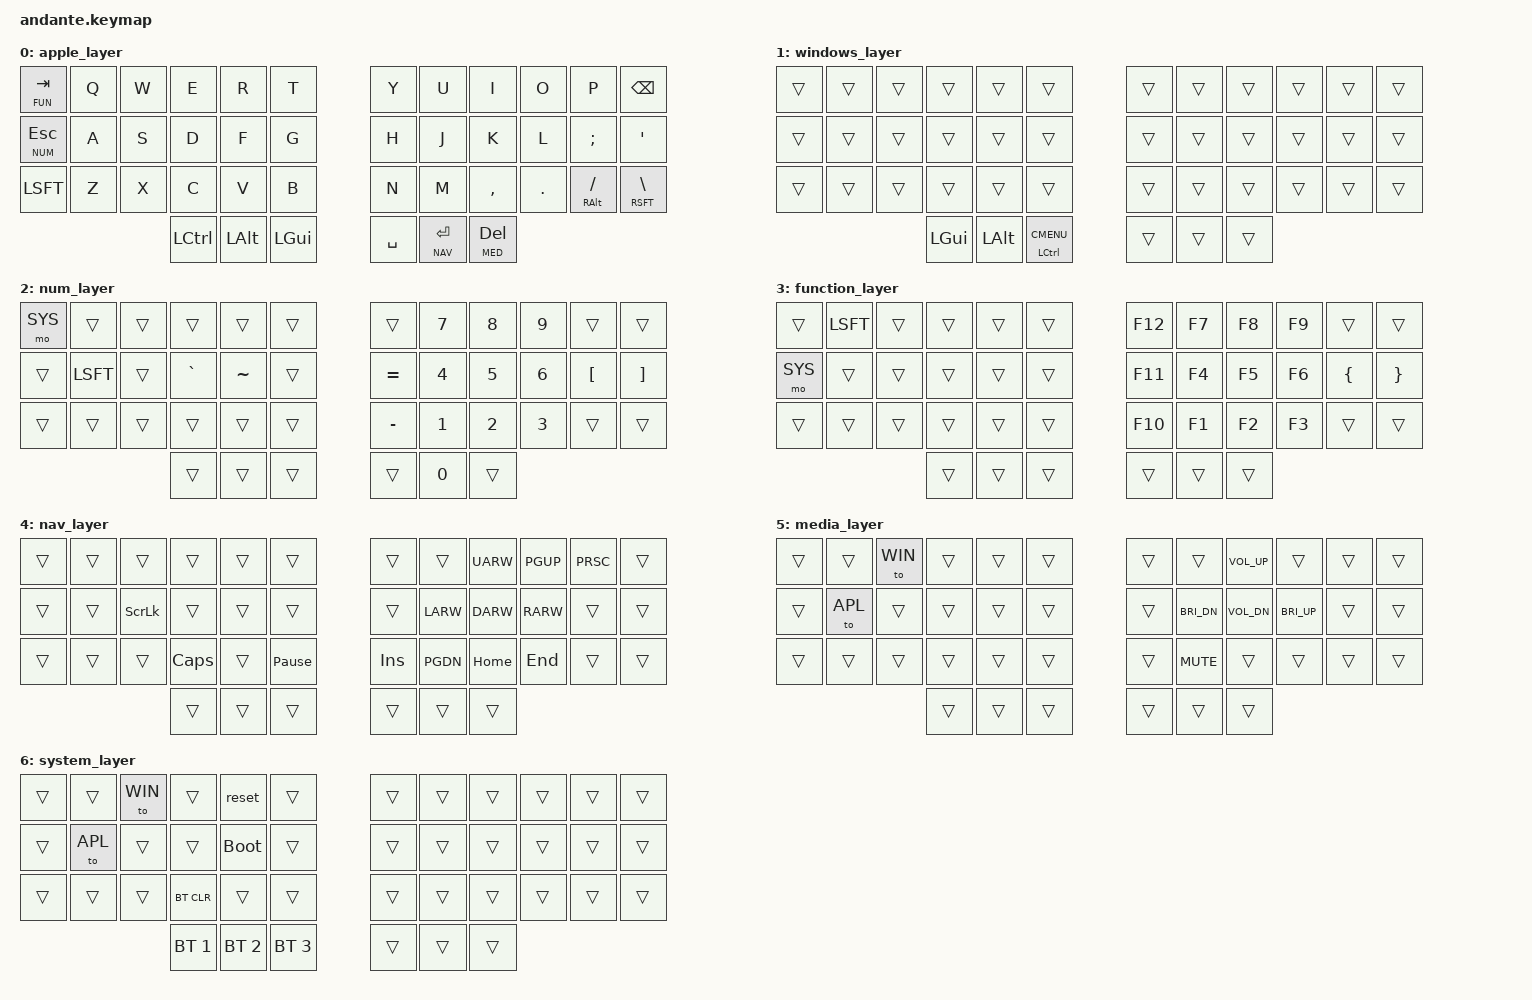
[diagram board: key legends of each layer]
/*
 * Copyright (c) 2021 The ZMK Contributors
 *
 * SPDX-License-Identifier: MIT
 */

#include <behaviors.dtsi>
#include <dt-bindings/zmk/bt.h>
#include <dt-bindings/zmk/keys.h>

#define APL 0
#define WIN 1
#define NUM 2
#define FUN 3
#define NAV 4
#define MED 5
#define SYS 6

/ {
    behaviors {
        hlt: hold_preferred_layer_tap {
			compatible = "zmk,behavior-hold-tap";
			label = "HOLD_PREFERRED_LAYER_TAP";
			#binding-cells = <2>;
			flavor = "hold-preferred";
			tapping_term_ms = <200>;
			bindings = <&mo>, <&kp>;
		};

        tmt: tap_preferred_mod_tap {
			compatible = "zmk,behavior-hold-tap";
			label = "TAP_PREFERRED_MOD_TAP";
			#binding-cells = <2>;
			flavor = "tap-preferred";
			tapping_term_ms = <200>;
			bindings = <&kp>, <&kp>;
		};
    };


    keymap {
        compatible = "zmk,keymap";

        apple_layer {
            bindings = <
    &hlt FUN TAB  &kp Q  &kp W  &kp E     &kp R     &kp T     /**/  &kp Y    &kp U         &kp I         &kp O    &kp P           &kp BKSP
    &hlt NUM ESC  &kp A  &kp S  &kp D     &kp F     &kp G     /**/  &kp H    &kp J         &kp K         &kp L    &kp SCLN        &kp QUOT
    &kp LSFT      &kp Z  &kp X  &kp C     &kp V     &kp B     /**/  &kp N    &kp M         &kp CMMA      &kp DOT  &tmt RALT FSLH  &mt RSFT BSLH
                                &kp LCTL  &kp LALT  &kp LGUI  /**/  &kp SPC  &hlt NAV RET  &hlt MED DEL
            >;
        };

        windows_layer {
            bindings = <
    &trans  &trans  &trans  &trans    &trans    &trans            /**/  &trans  &trans  &trans  &trans  &trans  &trans
    &trans  &trans  &trans  &trans    &trans    &trans            /**/  &trans  &trans  &trans  &trans  &trans  &trans
    &trans  &trans  &trans  &trans    &trans    &trans            /**/  &trans  &trans  &trans  &trans  &trans  &trans
                            &kp LGUI  &kp LALT  &mt LCTL K_CMENU  /**/  &trans  &trans  &trans
            >;
        };

        num_layer {
            bindings = <
    &mo SYS &trans    &trans    &trans     &trans    &trans  /**/  &trans     &kp NUM_7  &kp NUM_8  &kp NUM_9  &trans    &trans
    &trans  &kp LSFT  &trans    &kp GRAV   &kp TILDE &trans  /**/  &kp EQL    &kp NUM_4  &kp NUM_5  &kp NUM_6  &kp LBKT  &kp RBKT
    &trans  &trans    &trans    &trans     &trans    &trans  /**/  &kp MINUS  &kp NUM_1  &kp NUM_2  &kp NUM_3  &trans    &trans
                                &trans     &trans    &trans  /**/  &trans     &kp NUM_0  &trans
            >;
        };

        function_layer {
            bindings = <
    &trans  &kp LSFT  &trans  &trans  &trans  &trans  /**/  &kp F12  &kp F7  &kp F8  &kp F9  &trans    &trans
    &mo SYS &trans    &trans  &trans  &trans  &trans  /**/  &kp F11  &kp F4  &kp F5  &kp F6  &kp LBRC  &kp RBRC
    &trans  &trans    &trans  &trans  &trans  &trans  /**/  &kp F10  &kp F1  &kp F2  &kp F3  &trans    &trans
                              &trans  &trans  &trans  /**/  &trans   &trans  &trans
            >;
        };

        nav_layer {
            bindings = <
    &trans  &trans  &trans    &trans    &trans  &trans           /**/  &trans   &trans    &kp UARW  &kp PGUP  &kp PRSC  &trans
    &trans  &trans  &kp SLCK  &trans    &trans  &trans           /**/  &trans   &kp LARW  &kp DARW  &kp RARW  &trans    &trans
    &trans  &trans  &trans    &kp CLCK  &trans  &kp PAUSE_BREAK  /**/  &kp INS  &kp PGDN  &kp HOME  &kp END   &trans    &trans
                              &trans    &trans  &trans           /**/  &trans   &trans    &trans
            >;
        };

        media_layer {
            bindings = <
    &trans  &trans   &to WIN  &trans  &trans  &trans  /**/  &trans  &trans        &kp C_VOL_UP  &trans        &trans  &trans
    &trans  &to APL  &trans   &trans  &trans  &trans  /**/  &trans  &kp C_BRI_DN  &kp C_VOL_DN  &kp C_BRI_UP  &trans  &trans
    &trans  &trans   &trans   &trans  &trans  &trans  /**/  &trans  &kp C_MUTE    &trans        &trans        &trans  &trans
                              &trans  &trans  &trans  /**/  &trans  &trans        &trans
            >;
        };

        system_layer {
            bindings = <
    &trans  &trans   &to WIN  &trans       &reset       &trans       /**/  &trans  &trans  &trans  &trans  &trans  &trans
    &trans  &to APL  &trans   &trans       &bootloader  &trans       /**/  &trans  &trans  &trans  &trans  &trans  &trans
    &trans  &trans   &trans   &bt BT_CLR   &trans       &trans       /**/  &trans  &trans  &trans  &trans  &trans  &trans
                              &bt BT_SEL 1 &bt BT_SEL 2 &bt BT_SEL 3 /**/  &trans  &trans  &trans

            >;
        };
    };
};
